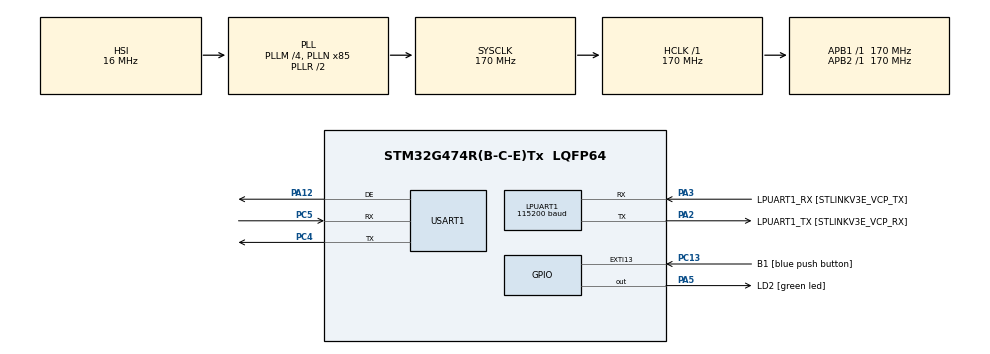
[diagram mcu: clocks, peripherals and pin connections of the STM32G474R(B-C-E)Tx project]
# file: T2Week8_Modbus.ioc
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LPUART1.BaudRate=115200
Mcu.Family=STM32G4
Mcu.Name=STM32G474R(B-C-E)Tx
Mcu.Package=LQFP64
NVIC.EXTI15_10_IRQn=true\:0\:0\:false\:false\:true\:true\:true\:true
NVIC.LPUART1_IRQn=true\:0\:0\:false\:false\:true\:true\:true\:true
NVIC.PriorityGroup=NVIC_PRIORITYGROUP_4
PA12.Mode=Hardware Flow Control (RS485)
PA12.Signal=USART1_DE
PA13.GPIO_Label=T_SWDIO
PA13.Signal=SYS_JTMS-SWDIO
PA14.GPIO_Label=T_SWCLK
PA14.Signal=SYS_JTCK-SWCLK
PA2.GPIO_Label=LPUART1_TX [STLINKV3E_VCP_RX]
PA2.Mode=Asynchronous
PA2.Signal=LPUART1_TX
PA3.GPIO_Label=LPUART1_RX [STLINKV3E_VCP_TX]
PA3.Mode=Asynchronous
PA3.Signal=LPUART1_RX
PA5.GPIO_Label=LD2 [green led]
PA5.Signal=GPIO_Output
PB3.GPIO_Label=T_SWO
PB3.Signal=SYS_JTDO-SWO
PC13.GPIO_Label=B1 [blue push button]
PC13.Signal=GPXTI13
PC14-OSC32_IN.GPIO_Label=RCC_OSC32_IN
PC14-OSC32_IN.Signal=RCC_OSC32_IN
PC15-OSC32_OUT.GPIO_Label=RCC_OSC32_OUT
PC15-OSC32_OUT.Signal=RCC_OSC32_OUT
PC4.Mode=Asynchronous
PC4.Signal=USART1_TX
PC5.Mode=Asynchronous
PC5.Signal=USART1_RX
PF0-OSC_IN.GPIO_Label=RCC_OSC_IN
PF0-OSC_IN.Signal=RCC_OSC_IN
PF1-OSC_OUT.GPIO_Label=RCC_OSC_OUT
PF1-OSC_OUT.Signal=RCC_OSC_OUT
ProjectManager.HeapSize=0x200
ProjectManager.StackSize=0x400
ProjectManager.TargetToolchain=STM32CubeIDE
RCC.ADC12Freq_Value=170000000
RCC.ADC345Freq_Value=170000000
RCC.AHBFreq_Value=170000000
RCC.APB1Freq_Value=170000000
RCC.APB1TimFreq_Value=170000000
RCC.APB2Freq_Value=170000000
RCC.APB2TimFreq_Value=170000000
RCC.CortexFreq_Value=170000000
RCC.EXTERNAL_CLOCK_VALUE=12288000
RCC.HCLKFreq_Value=170000000
RCC.HSE_VALUE=24000000
RCC.HSI48_VALUE=48000000
RCC.HSI_VALUE=16000000
RCC.LSE_VALUE=32768
RCC.PLLM=RCC_PLLM_DIV4
RCC.PLLN=85
RCC.RTCClockSelection=RCC_RTCCLKSOURCE_LSE
RCC.SYSCLKFreq_VALUE=170000000
RCC.SYSCLKSource=RCC_SYSCLKSOURCE_PLLCLK
RCC.USBFreq_Value=170000000
RCC.VCOOutputFreq_Value=340000000
USART1.VirtualMode-Asynchronous=VM_ASYNC
USART1.VirtualMode-Hardware\ Flow\ Control\ (RS485)=VM_ASYNC
VP_SYS_VS_DBSignals.Mode=DisableDeadBatterySignals
board=NUCLEO-G474RE

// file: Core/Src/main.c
/* USER CODE BEGIN Header */
/**
  ******************************************************************************
  * @file           : main.c
  * @brief          : Main program body
  ******************************************************************************
  * @attention
  *
  * Copyright (c) 2026 STMicroelectronics.
  * All rights reserved.
  *
  * This software is licensed under terms that can be found in the LICENSE file
  * in the root directory of this software component.
  * If no LICENSE file comes with this software, it is provided AS-IS.
  *
  ******************************************************************************
  */
/* USER CODE END Header */
#include "main.h"

/* USER CODE BEGIN Includes */
#include "stdio.h"
#include "string.h"
/* USER CODE END Includes */

UART_HandleTypeDef hlpuart1;
UART_HandleTypeDef huart1;

/* USER CODE BEGIN PV */
uint8_t RxByte;
uint8_t RxBuffer[33];
uint8_t TxBuffer[64];
uint8_t RxIndex = 0;
/* USER CODE END PV */

void SystemClock_Config(void);
static void MX_GPIO_Init(void);
static void MX_LPUART1_UART_Init(void);
static void MX_USART1_UART_Init(void);
/* USER CODE BEGIN PFP */
void RS485_Send(uint8_t *data, uint16_t len);
void RS485_StartReceive(void);
void DummyTask(void);
/* USER CODE END PFP */

int main(void)
{

  /* MCU Configuration--------------------------------------------------------*/

  /* Reset of all peripherals, Initializes the Flash interface and the Systick. */
  HAL_Init();

  /* Configure the system clock */
  SystemClock_Config();

  /* Initialize all configured peripherals */
  MX_GPIO_Init();
  MX_LPUART1_UART_Init();
  MX_USART1_UART_Init();
  /* USER CODE BEGIN 2 */
  __HAL_UART_ENABLE_IT(&huart1, UART_IT_RXNE);
  RS485_StartReceive();
  HAL_UART_Transmit(&hlpuart1, (uint8_t*)"RS485 Ready, waiting...\r\n", 25, 100);
  /* USER CODE END 2 */

  /* Infinite loop */
  while (1)
  {

    /* USER CODE BEGIN 3 */
	  DummyTask();
  }
  /* USER CODE END 3 */
}

void SystemClock_Config(void)
{
  RCC_OscInitTypeDef RCC_OscInitStruct = {0};
  RCC_ClkInitTypeDef RCC_ClkInitStruct = {0};

  /** Configure the main internal regulator output voltage
  */
  HAL_PWREx_ControlVoltageScaling(PWR_REGULATOR_VOLTAGE_SCALE1_BOOST);

  /** Initializes the RCC Oscillators according to the specified parameters
  * in the RCC_OscInitTypeDef structure.
  */
  RCC_OscInitStruct.OscillatorType = RCC_OSCILLATORTYPE_HSI;
  RCC_OscInitStruct.HSIState = RCC_HSI_ON;
  RCC_OscInitStruct.HSICalibrationValue = RCC_HSICALIBRATION_DEFAULT;
  RCC_OscInitStruct.PLL.PLLState = RCC_PLL_ON;
  RCC_OscInitStruct.PLL.PLLSource = RCC_PLLSOURCE_HSI;
  RCC_OscInitStruct.PLL.PLLM = RCC_PLLM_DIV4;
  RCC_OscInitStruct.PLL.PLLN = 85;
  RCC_OscInitStruct.PLL.PLLP = RCC_PLLP_DIV2;
  RCC_OscInitStruct.PLL.PLLQ = RCC_PLLQ_DIV2;
  RCC_OscInitStruct.PLL.PLLR = RCC_PLLR_DIV2;
  if (HAL_RCC_OscConfig(&RCC_OscInitStruct) != HAL_OK)
  {
    Error_Handler();
  }

  /** Initializes the CPU, AHB and APB buses clocks
  */
  RCC_ClkInitStruct.ClockType = RCC_CLOCKTYPE_HCLK|RCC_CLOCKTYPE_SYSCLK
                              |RCC_CLOCKTYPE_PCLK1|RCC_CLOCKTYPE_PCLK2;
  RCC_ClkInitStruct.SYSCLKSource = RCC_SYSCLKSOURCE_PLLCLK;
  RCC_ClkInitStruct.AHBCLKDivider = RCC_SYSCLK_DIV1;
  RCC_ClkInitStruct.APB1CLKDivider = RCC_HCLK_DIV1;
  RCC_ClkInitStruct.APB2CLKDivider = RCC_HCLK_DIV1;

  if (HAL_RCC_ClockConfig(&RCC_ClkInitStruct, FLASH_LATENCY_4) != HAL_OK)
  {
    Error_Handler();
  }
}

static void MX_LPUART1_UART_Init(void)
{

  hlpuart1.Instance = LPUART1;
  hlpuart1.Init.BaudRate = 115200;
  hlpuart1.Init.WordLength = UART_WORDLENGTH_8B;
  hlpuart1.Init.StopBits = UART_STOPBITS_1;
  hlpuart1.Init.Parity = UART_PARITY_NONE;
  hlpuart1.Init.Mode = UART_MODE_TX_RX;
  hlpuart1.Init.HwFlowCtl = UART_HWCONTROL_NONE;
  hlpuart1.Init.OneBitSampling = UART_ONE_BIT_SAMPLE_DISABLE;
  hlpuart1.Init.ClockPrescaler = UART_PRESCALER_DIV1;
  hlpuart1.AdvancedInit.AdvFeatureInit = UART_ADVFEATURE_NO_INIT;
  if (HAL_UART_Init(&hlpuart1) != HAL_OK)
  {
    Error_Handler();
  }
  if (HAL_UARTEx_SetTxFifoThreshold(&hlpuart1, UART_TXFIFO_THRESHOLD_1_8) != HAL_OK)
  {
    Error_Handler();
  }
  if (HAL_UARTEx_SetRxFifoThreshold(&hlpuart1, UART_RXFIFO_THRESHOLD_1_8) != HAL_OK)
  {
    Error_Handler();
  }
  if (HAL_UARTEx_DisableFifoMode(&hlpuart1) != HAL_OK)
  {
    Error_Handler();
  }

}

static void MX_USART1_UART_Init(void)
{

  huart1.Instance = USART1;
  huart1.Init.BaudRate = 115200;
  huart1.Init.WordLength = UART_WORDLENGTH_8B;
  huart1.Init.StopBits = UART_STOPBITS_1;
  huart1.Init.Parity = UART_PARITY_NONE;
  huart1.Init.Mode = UART_MODE_TX_RX;
  huart1.Init.HwFlowCtl = UART_HWCONTROL_NONE;
  huart1.Init.OverSampling = UART_OVERSAMPLING_16;
  huart1.Init.OneBitSampling = UART_ONE_BIT_SAMPLE_DISABLE;
  huart1.Init.ClockPrescaler = UART_PRESCALER_DIV1;
  huart1.AdvancedInit.AdvFeatureInit = UART_ADVFEATURE_NO_INIT;
  if (HAL_RS485Ex_Init(&huart1, UART_DE_POLARITY_HIGH, 0, 0) != HAL_OK)
  {
    Error_Handler();
  }
  if (HAL_UARTEx_SetTxFifoThreshold(&huart1, UART_TXFIFO_THRESHOLD_1_8) != HAL_OK)
  {
    Error_Handler();
  }
  if (HAL_UARTEx_SetRxFifoThreshold(&huart1, UART_RXFIFO_THRESHOLD_1_8) != HAL_OK)
  {
    Error_Handler();
  }
  if (HAL_UARTEx_DisableFifoMode(&huart1) != HAL_OK)
  {
    Error_Handler();
  }

}

static void MX_GPIO_Init(void)
{
  GPIO_InitTypeDef GPIO_InitStruct = {0};

  /* GPIO Ports Clock Enable */
  __HAL_RCC_GPIOC_CLK_ENABLE();
  __HAL_RCC_GPIOF_CLK_ENABLE();
  __HAL_RCC_GPIOA_CLK_ENABLE();
  __HAL_RCC_GPIOB_CLK_ENABLE();

  /*Configure GPIO pin Output Level */
  HAL_GPIO_WritePin(LD2_GPIO_Port, LD2_Pin, GPIO_PIN_RESET);

  /*Configure GPIO pin : B1_Pin */
  GPIO_InitStruct.Pin = B1_Pin;
  GPIO_InitStruct.Mode = GPIO_MODE_IT_RISING;
  GPIO_InitStruct.Pull = GPIO_NOPULL;
  HAL_GPIO_Init(B1_GPIO_Port, &GPIO_InitStruct);

  /*Configure GPIO pin : LD2_Pin */
  GPIO_InitStruct.Pin = LD2_Pin;
  GPIO_InitStruct.Mode = GPIO_MODE_OUTPUT_PP;
  GPIO_InitStruct.Pull = GPIO_NOPULL;
  GPIO_InitStruct.Speed = GPIO_SPEED_FREQ_LOW;
  HAL_GPIO_Init(LD2_GPIO_Port, &GPIO_InitStruct);

  /* EXTI interrupt init*/
  HAL_NVIC_SetPriority(EXTI15_10_IRQn, 0, 0);
  HAL_NVIC_EnableIRQ(EXTI15_10_IRQn);

}

/* USER CODE BEGIN 4 */
void RS485_Send(uint8_t *data, uint16_t len)
{
    HAL_UART_Transmit(&huart1, data, len, 100);
    RS485_StartReceive();
}
void RS485_StartReceive(void)
{
    HAL_UART_Receive_IT(&huart1, &RxByte, 1); // รับทีละ 1
}

void HAL_UART_RxCpltCallback(UART_HandleTypeDef *huart)
{
    if (huart == &huart1)
    {
        if (RxByte == '\n' || RxIndex >= 32)
        {

            RxBuffer[RxIndex] = '\0';
            RxIndex = 0;

            sprintf((char*)TxBuffer, "MSG: %s\r\n", RxBuffer);
            HAL_UART_Transmit(&hlpuart1, TxBuffer,
                              strlen((char*)TxBuffer), 100);
        }
        else if (RxByte != '\r')
        {

            RxBuffer[RxIndex++] = RxByte;
        }

        RS485_StartReceive();
    }
}

void HAL_GPIO_EXTI_Callback(uint16_t GPIO_Pin)
{
    if (GPIO_Pin == B1_Pin)
    {
        uint8_t msg[] = "67340500061\r\n";  // เพิ่ม \r\n
        RS485_Send(msg, strlen((char*)msg));
    }
}
void DummyTask(void)
{
    static uint32_t timestamp = 0;
    if (HAL_GetTick() >= timestamp)
    {
        timestamp = HAL_GetTick() + 100;
        HAL_GPIO_TogglePin(LD2_GPIO_Port, LD2_Pin);
    }
}
/* USER CODE END 4 */

void Error_Handler(void)
{
  __disable_irq();
  while (1)
  {
  }
}
